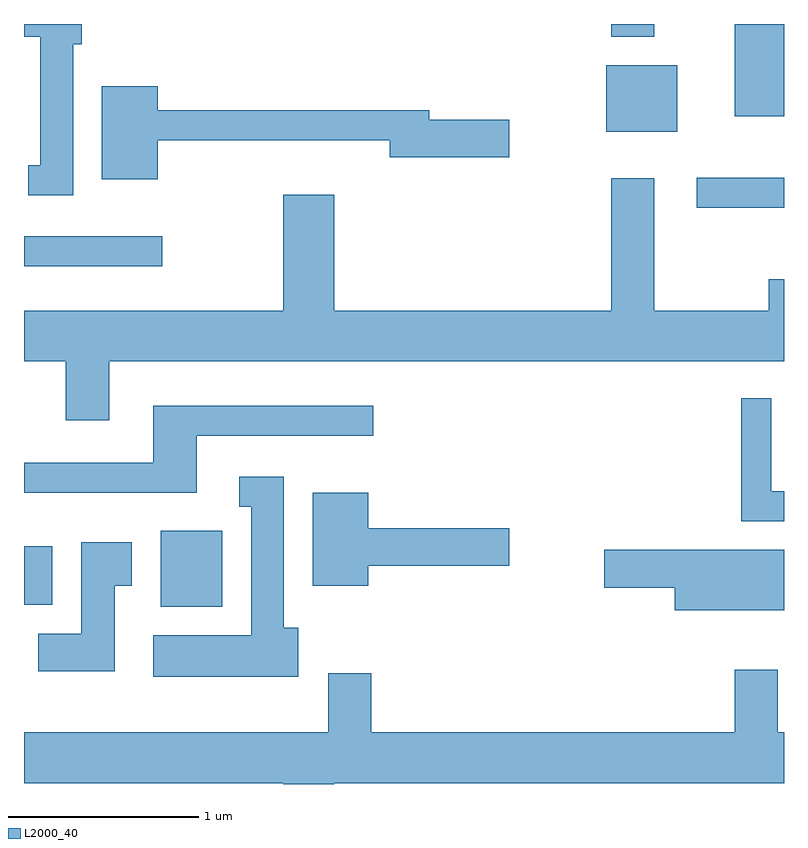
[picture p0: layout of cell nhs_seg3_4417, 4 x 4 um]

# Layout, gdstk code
import gdstk
lib = gdstk.Library(unit=1e-6, precision=1e-09)
def R(c, l, rs):  # rectangles x0, y0, x1, y1
    for r in rs: c.add(gdstk.rectangle(r[:2], r[2:], *l))
def P(c, l, *ps):  # polygons
    for p in ps: c.add(gdstk.Polygon(p, *l))
L2000_40 = (2000, 40)

nhs_seg3_4417 = lib.new_cell('nhs_seg3_4417')
R(nhs_seg3_4417, L2000_40, [(314.331,1246.826,314.654,1247.224), (313.611,1246.836,313.759,1247.144), (313.611,1248.616,314.338,1248.774), (317.153,1248.926,317.611,1249.084), (316.676,1249.326,317.049,1249.674), (317.351,1249.406,317.611,1249.892), (316.701,1249.826,316.929,1249.892)])
P(nhs_seg3_4417, L2000_40, [(313.869,1249.786),(313.914,1249.786),(313.914,1249.892),(313.611,1249.892),(313.611,1249.826),(313.696,1249.826),(313.696,1249.149),(313.633,1249.149),(313.633,1248.991),(313.869,1248.991)],
  [(314.314,1249.281),(315.536,1249.281),(315.536,1249.191),(316.164,1249.191),(316.164,1249.389),(315.744,1249.389),(315.744,1249.439),(314.314,1249.439),(314.314,1249.564),(314.021,1249.564),(314.021,1249.076),(314.314,1249.076)],
  [(314.059,1248.116),(317.611,1248.116),(317.611,1248.549),(317.531,1248.549),(317.531,1248.384),(316.929,1248.384),(316.929,1249.079),(316.701,1249.079),(316.701,1248.384),(315.244,1248.384),(315.244,1248.994),(314.976,1248.994),(314.976,1248.384),(313.611,1248.384),(313.611,1248.116),(313.831,1248.116),(313.831,1247.806),(314.059,1247.806)],
  [(317.611,1247.434),(317.544,1247.434),(317.544,1247.923),(317.386,1247.923),(317.386,1247.276),(317.611,1247.276)],
  [(314.519,1247.726),(315.448,1247.726),(315.448,1247.884),(314.291,1247.884),(314.291,1247.584),(313.611,1247.584),(313.611,1247.426),(314.519,1247.426)],
  [(315.054,1246.714),(314.979,1246.714),(314.979,1247.509),(314.743,1247.509),(314.743,1247.351),(314.806,1247.351),(314.806,1246.674),(314.291,1246.674),(314.291,1246.456),(315.054,1246.456)],
  [(315.424,1247.041),(316.164,1247.041),(316.164,1247.239),(315.424,1247.239),(315.424,1247.424),(315.131,1247.424),(315.131,1246.936),(315.424,1246.936)],
  [(314.089,1246.936),(314.179,1246.936),(314.179,1247.164),(313.911,1247.164),(313.911,1246.684),(313.686,1246.684),(313.686,1246.486),(314.089,1246.486)],
  [(317.611,1247.124),(316.666,1247.124),(316.666,1246.926),(317.036,1246.926),(317.036,1246.806),(317.611,1246.806)],
  [(315.244,1245.896),(317.611,1245.896),(317.611,1246.164),(317.579,1246.164),(317.579,1246.494),(317.351,1246.494),(317.351,1246.164),(315.439,1246.164),(315.439,1246.474),(315.211,1246.474),(315.211,1246.164),(313.611,1246.164),(313.611,1245.896),(314.976,1245.896),(314.976,1245.892),(315.244,1245.892)])

lib.write_gds('nhs_seg3_4417.gds')
